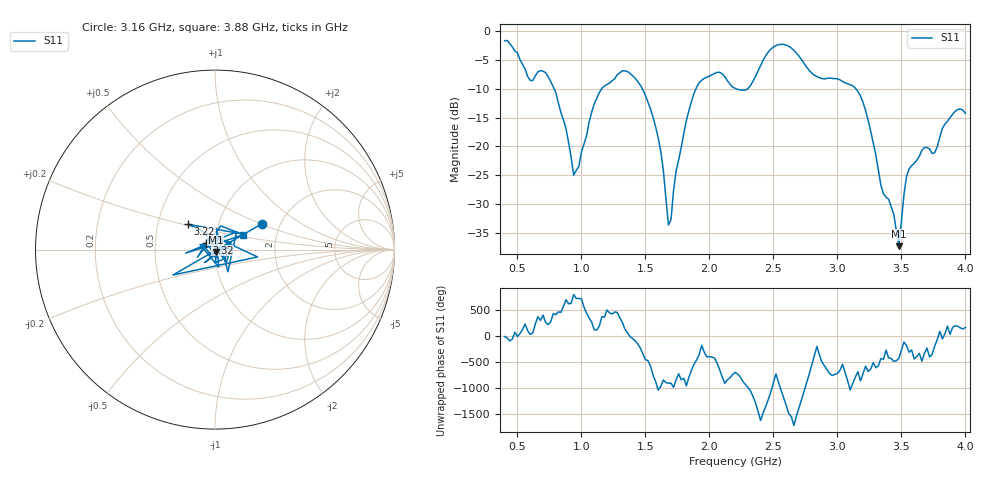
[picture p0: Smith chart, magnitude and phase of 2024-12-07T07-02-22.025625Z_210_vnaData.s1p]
!Created with skrf (http://scikit-rf.org).
# Hz S RI R 50.0
!freq ReS11 ImS11
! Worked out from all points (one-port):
!   181 points, 400 MHz to 4 GHz, reference 50 ohm
!   lowest |S11| = -37.3 dB at 3.48 GHz (marker M1), VSWR 1.03, Z = 50.3 - j1.35 ohm
!   |S11| at or under -10 dB: 786 MHz to 1.159 GHz (372.9 MHz wide, 38.3 % of centre); 1.475 GHz to 1.896 GHz (420.2 MHz wide, 24.9 % of centre); 3.143 GHz to end of sweep (the widest 3 of 4)
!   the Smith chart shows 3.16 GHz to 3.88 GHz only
!   S11 on the Smith chart (normalised r, x): 3.16 GHz: 1.61, +0.51; 3.22 GHz: 0.71, +0.21; 3.32 GHz: 0.91, +0.07; 3.88 GHz: 1.35, +0.23
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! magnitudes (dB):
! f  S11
! 400 MHz  -1.7
! 600 MHz  -8.6
! 720 MHz  -7.2
! 860 MHz  -15.4
! 940 MHz  -25.0
! 1.14 GHz  -10.7
! 1.3 GHz  -7.3
! 1.54 GHz  -13.5
! 1.62 GHz  -20.8
! 1.68 GHz  -33.6
! 1.76 GHz  -22.3
! 1.92 GHz  -9.0
! 2.08 GHz  -7.2
! 2.2 GHz  -9.9
! 2.3 GHz  -10.0
! 2.5 GHz  -2.8
! 2.66 GHz  -3.4
! 3.1 GHz  -9.3
! 3.16 GHz  -10.5
! 3.22 GHz  -13.8
! 3.32 GHz  -24.1
! 3.44 GHz  -31.7
! 3.48 GHz  -37.3
! 3.52 GHz  -28.4
! 3.56 GHz  -23.9
! 3.76 GHz  -21.1
! 3.88 GHz  -15.1
! 4 GHz  -14.3
